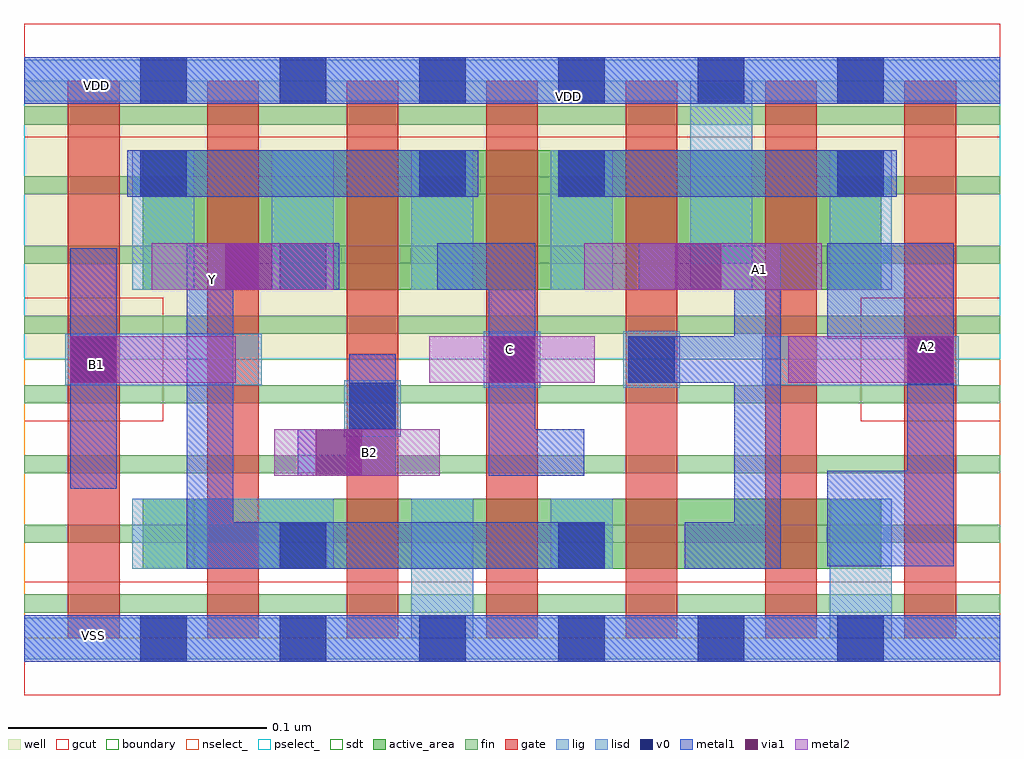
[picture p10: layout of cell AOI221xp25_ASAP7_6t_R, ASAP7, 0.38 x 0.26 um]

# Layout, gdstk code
import gdstk
lib = gdstk.Library(unit=1e-6, precision=2.5e-10)
def R(c, l, rs):  # rectangles x0, y0, x1, y1
    for r in rs: c.add(gdstk.rectangle(r[:2], r[2:], *l))
def A(c, l, x, y, w, h, nx, ny, dx, dy):  # array of equal rectangles
    R(c, l, [(x+i*dx, y+j*dy, x+i*dx+w, y+j*dy+h) for i in range(nx) for j in range(ny)])
def P(c, l, *ps):  # polygons
    for p in ps: c.add(gdstk.Polygon(p, *l))
well = (1, 0)
fin = (2, 0)
gate = (7, 0)
gcut = (10, 0)
active_area = (11, 0)
nselect_ = (12, 0)
pselect_ = (13, 0)
lig = (16, 0)
lisd = (17, 0)
v0 = (18, 0)
metal1 = (19, 0)
metal2 = (20, 0)
via1 = (21, 0)
sdt = (88, 0)
boundary = (100, 0)

aoi221xp25_asap7_6t_r = lib.new_cell('AOI221xp25_ASAP7_6t_R')
R(aoi221xp25_asap7_6t_r, well, [(0,0.108,0.378,0.216)])
A(aoi221xp25_asap7_6t_r, fin, 0, 0.01, 0.378, 0.007, 1, 7, 0, 0.027)
R(aoi221xp25_asap7_6t_r, fin, [(0,0.172,0.378,0.179), (0,0.199,0.378,0.206), (0,0.199,0.378,0.206)])
A(aoi221xp25_asap7_6t_r, gate, 0.017, 0, 0.02, 0.216, 7, 1, 0.054, 0)
R(aoi221xp25_asap7_6t_r, gcut, [(0,-0.022,0.378,0.022), (0,0.084,0.054,0.132), (0.324,0.084,0.378,0.132), (0,0.194,0.378,0.238)])
R(aoi221xp25_asap7_6t_r, active_area, [(0.046,0.027,0.332,0.054), (0.046,0.135,0.332,0.189)])
R(aoi221xp25_asap7_6t_r, nselect_, [(0,0,0.378,0.108)])
R(aoi221xp25_asap7_6t_r, pselect_, [(0,0.108,0.378,0.216)])
R(aoi221xp25_asap7_6t_r, lig, [(0,-0.008,0.378,0.008), (0.124,0.078,0.146,0.1), (0.178,0.097,0.2,0.119), (0.232,0.097,0.254,0.119), (0.016,0.098,0.092,0.118), (0.286,0.098,0.362,0.117), (0,0.208,0.378,0.224)])
A(aoi221xp25_asap7_6t_r, lisd, 0.042, 0.135, 0.024, 0.054, 4, 1, 0.054, 0)
R(aoi221xp25_asap7_6t_r, lisd, [(0.15,0,0.174,0.054), (0.312,0,0.336,0.054), (0.042,0.027,0.12,0.054), (0.204,0.027,0.228,0.054), (0.258,0.135,0.282,0.216), (0.312,0.135,0.336,0.189)])
A(aoi221xp25_asap7_6t_r, v0, 0.045, -0.009, 0.018, 0.018, 6, 2, 0.054, 0.216)
R(aoi221xp25_asap7_6t_r, v0, [(0.099,0.027,0.117,0.045), (0.207,0.027,0.225,0.045), (0.126,0.081,0.144,0.099), (0.342,0.098,0.36,0.116), (0.018,0.099,0.036,0.117), (0.18,0.099,0.198,0.117), (0.234,0.099,0.252,0.117), (0.099,0.135,0.117,0.153), (0.045,0.171,0.063,0.189), (0.153,0.171,0.171,0.189), (0.207,0.171,0.225,0.189), (0.315,0.171,0.333,0.189)])
R(aoi221xp25_asap7_6t_r, metal1, [(0,-0.009,0.378,0.009), (0.256,0.027,0.293,0.045), (0.275,0.027,0.293,0.153), (0.311,0.028,0.36,0.065), (0.342,0.028,0.36,0.153), (0.018,0.058,0.036,0.151), (0.18,0.063,0.217,0.081), (0.18,0.063,0.198,0.153), (0.234,0.099,0.293,0.117), (0.311,0.116,0.36,0.153), (0.16,0.135,0.198,0.153), (0.238,0.135,0.293,0.153), (0.04,0.171,0.176,0.189), (0.207,0.171,0.338,0.189), (0,0.207,0.378,0.225)])
P(aoi221xp25_asap7_6t_r, metal1, [(0.225,0.045),(0.081,0.045),(0.081,0.135),(0.122,0.135),(0.122,0.153),(0.063,0.153),(0.063,0.027),(0.225,0.027)],
  [(0.144,0.11),(0.126,0.11),(0.126,0.081),(0.106,0.081),(0.106,0.063),(0.144,0.063)])
A(aoi221xp25_asap7_6t_r, metal2, 0.018, 0.099, 0.064, 0.018, 3, 1, 0.139, 0)
R(aoi221xp25_asap7_6t_r, metal2, [(0.097,0.063,0.161,0.081), (0.0495,0.135,0.12,0.153), (0.217,0.135,0.309,0.153)])
A(aoi221xp25_asap7_6t_r, via1, 0.018, 0.099, 0.018, 0.018, 3, 1, 0.162, 0)
R(aoi221xp25_asap7_6t_r, via1, [(0.113,0.063,0.131,0.081), (0.078,0.135,0.096,0.153), (0.252,0.135,0.27,0.153)])
A(aoi221xp25_asap7_6t_r, sdt, 0.042, 0.135, 0.024, 0.054, 6, 1, 0.054, 0)
R(aoi221xp25_asap7_6t_r, sdt, [(0.042,0.027,0.066,0.054), (0.15,0.027,0.174,0.054), (0.204,0.027,0.228,0.054), (0.312,0.027,0.336,0.054)])
R(aoi221xp25_asap7_6t_r, boundary, [(0,0,0.378,0.216)])
aoi221xp25_asap7_6t_r.add(gdstk.Label('VDD', (0.211,0.21), layer=1, texttype=251))
aoi221xp25_asap7_6t_r.add(gdstk.Label('VSS', (0.238,-0.057), layer=3, texttype=251))
aoi221xp25_asap7_6t_r.add(gdstk.Label('VSS', (0.027,0.001), layer=19, texttype=251))
aoi221xp25_asap7_6t_r.add(gdstk.Label('VDD', (0.028,0.214), layer=19, texttype=251))
aoi221xp25_asap7_6t_r.add(gdstk.Label('A2', (0.35,0.113), layer=20, texttype=251))
aoi221xp25_asap7_6t_r.add(gdstk.Label('A1', (0.285,0.143), layer=20, texttype=251))
aoi221xp25_asap7_6t_r.add(gdstk.Label('Y', (0.073,0.139), layer=20, texttype=251))
aoi221xp25_asap7_6t_r.add(gdstk.Label('B1', (0.028,0.106), layer=20, texttype=251))
aoi221xp25_asap7_6t_r.add(gdstk.Label('B2', (0.134,0.072), layer=20, texttype=251))
aoi221xp25_asap7_6t_r.add(gdstk.Label('C', (0.188,0.112), layer=20, texttype=251))

lib.write_gds('AOI221xp25_ASAP7_6t_R.gds')
